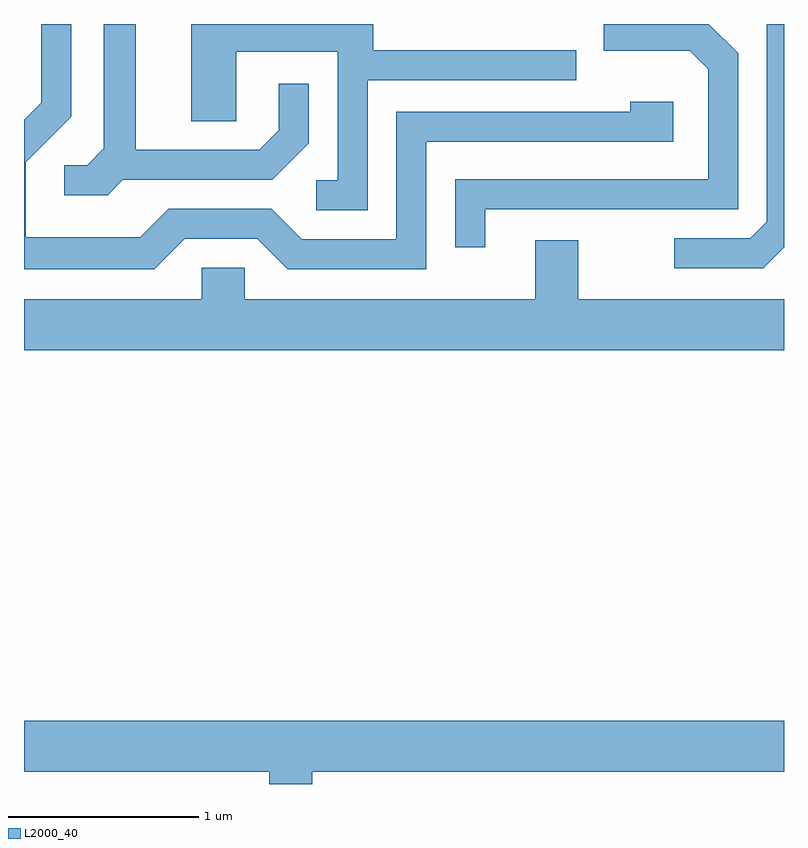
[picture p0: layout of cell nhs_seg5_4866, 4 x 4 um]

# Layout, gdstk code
import gdstk
lib = gdstk.Library(unit=1e-6, precision=1e-09)
def P(c, l, *ps):  # polygons
    for p in ps: c.add(gdstk.Polygon(p, *l))
L2000_40 = (2000, 40)

nhs_seg5_4866 = lib.new_cell('nhs_seg5_4866')
P(nhs_seg5_4866, L2000_40, [(332.039,1453.096),(333.369,1453.096),(333.369,1453.917),(333.214,1454.072),(332.661,1454.072),(332.661,1453.931),(333.114,1453.931),(333.211,1453.834),(333.211,1453.254),(331.881,1453.254),(331.881,1452.898),(332.039,1452.898)],
  [(331.419,1453.776),(332.518,1453.776),(332.518,1453.934),(331.449,1453.934),(331.449,1454.072),(330.491,1454.072),(330.491,1453.561),(330.729,1453.561),(330.729,1453.926),(331.261,1453.926),(331.261,1453.249),(331.148,1453.249),(331.148,1453.091),(331.419,1453.091)],
  [(330.457,1452.941),(330.839,1452.941),(330.999,1452.781),(331.729,1452.781),(331.729,1453.451),(333.029,1453.451),(333.029,1453.664),(332.801,1453.664),(332.801,1453.609),(331.571,1453.609),(331.571,1452.939),(331.072,1452.939),(330.912,1453.099),(330.374,1453.099),(330.224,1452.949),(329.619,1452.949),(329.619,1453.344),(329.859,1453.584),(329.859,1454.072),(329.701,1454.072),(329.701,1453.657),(329.611,1453.567),(329.611,1452.781),(330.297,1452.781)],
  [(330.132,1453.251),(330.917,1453.251),(331.109,1453.444),(331.109,1453.758),(330.951,1453.758),(330.951,1453.512),(330.849,1453.409),(330.199,1453.409),(330.199,1454.072),(330.031,1454.072),(330.031,1453.417),(329.944,1453.329),(329.823,1453.329),(329.823,1453.171),(330.052,1453.171)],
  [(333.611,1452.896),(333.611,1454.072),(333.521,1454.072),(333.521,1453.032),(333.434,1452.944),(333.033,1452.944),(333.033,1452.786),(333.502,1452.786)],
  [(333.611,1452.624),(332.529,1452.624),(332.529,1452.934),(332.301,1452.934),(332.301,1452.624),(330.774,1452.624),(330.774,1452.789),(330.546,1452.789),(330.546,1452.624),(329.611,1452.624),(329.611,1452.356),(333.611,1452.356)],
  [(331.129,1450.136),(333.611,1450.136),(333.611,1450.404),(329.611,1450.404),(329.611,1450.136),(330.901,1450.136),(330.901,1450.072),(331.129,1450.072)])

lib.write_gds('nhs_seg5_4866.gds')
